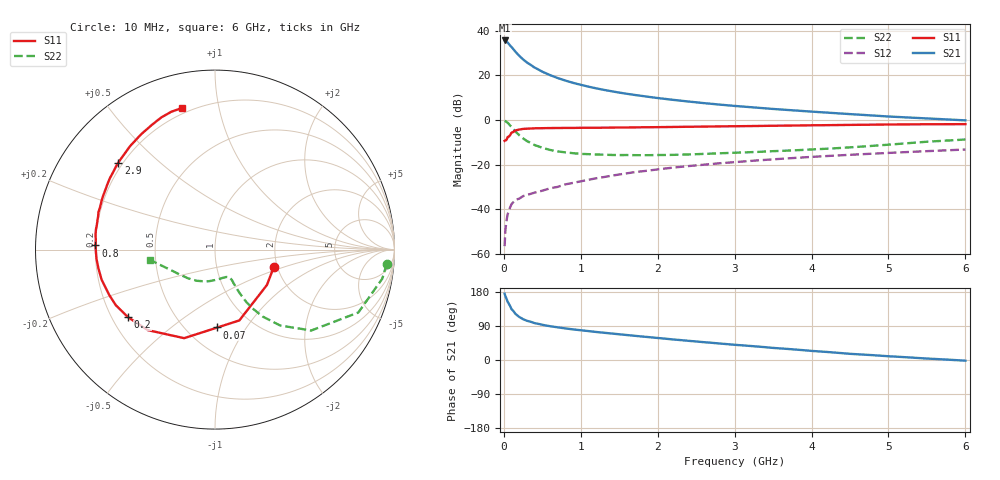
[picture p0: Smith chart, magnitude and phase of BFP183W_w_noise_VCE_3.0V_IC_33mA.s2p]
! Infineon Technologies  Discrete & RF Semiconductors
! BFP183W
! VCE =  3.0 V,  IC =  33 mA
! Common Emitter S-Parameters:  Jan 2017
# GHz  S  MA  R  50
!  f  S11  S21  S12  S22
! GHz  MAG  ANG  MAG  ANG  MAG  ANG  MAG  ANG
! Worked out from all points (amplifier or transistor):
!   77 points, 10 MHz to 6 GHz, reference 50 ohm
!   highest |S21| = 35.6 dB at 10 MHz (marker M1)
!   |S21| within 3 dB of that: start of sweep to 101.8 MHz
!   unconditionally stable (mu >= 1): 821.3 MHz to 3.455 GHz
!   at 130 MHz: K = 0.34, MSG = 34.0 dB, |S12| = -36.5 dB
!   at 2.2 GHz: K = 1.07, MAG = 13.6 dB, |S12| = -21.3 dB
!   at 6 GHz: K = 0.87, MSG = 6.5 dB, |S12| = -13.2 dB
!   lowest NFmin = 1.47 dB at 450 MHz
!   S11 on the Smith chart (normalised r, x): 10 MHz: 1.92, -0.41; 70 MHz: 0.70, -0.75; 200 MHz: 0.27, -0.32; 800 MHz: 0.20, +0.02; 2.9 GHz: 0.18, +0.37; 6 GHz: 0.17, +0.78
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0.01  0.342 -16.1  60.57 175.0  0.0015 87.6  0.9605 -4.7
0.02  0.3501 -34.3  59.78 168.7  0.0034 84.4  0.9458 -9.9
0.05  0.4172 -71.0  54.41 153.4  0.0078 70.0  0.8721 -23.7
0.07  0.4342 -88.3  49.3 146.7  0.0099 64.6  0.7959 -29.4
0.1  0.5225 -109.2  43.23 134.1  0.0131 59.8  0.7002 -40.1
0.15  0.5842 -129.8  34.07 122.0  0.0163 50.4  0.5562 -49.4
0.2  0.6134 -142.0  27.48 113.6  0.0174 48.9  0.4583 -54.5
0.25  0.6335 -150.7  22.85 107.8  0.0198 46.5  0.3889 -57.4
0.3  0.6412 -156.7  19.45 103.5  0.021 48.3  0.3391 -59.2
0.4  0.6537 -165.2  14.97 97.3  0.0237 51.4  0.2758 -60.5
0.5  0.6578 -170.8  12.09 92.9  0.0262 53.2  0.2391 -60.9
0.6  0.662 -175.3  10.16 89.2  0.0296 55.3  0.2145 -61.1
0.7  0.6634 -178.7  8.725 86.2  0.0319 58.1  0.1985 -60.9
0.8  0.6663 178.0  7.662 83.3  0.0363 60.1  0.189 -61.2
1.1  0.6728 170.3  5.599 76.3  0.046 61.9  0.1723 -63.2
1.5  0.6822 162.1  4.119 67.9  0.0604 63.2  0.1644 -68.8
2.1  0.6968 150.8  2.971 56.2  0.0823 62.3  0.1654 -82.5
2.9  0.7241 138.1  2.146 41.9  0.1109 58.4  0.1826 -104.6
3.1  0.7301 135.1  2.009 38.7  0.1177 57.1  0.1878 -110.0
4.1  0.7657 121.4  1.506 22.6  0.153 51.0  0.2236 -136.1
5.1  0.7969 111.1  1.177 8.8  0.1871 44.5  0.2897 -159.4
6  0.8102 103.2  0.984 -1.8  0.2188 38.1  0.3668 -171.3
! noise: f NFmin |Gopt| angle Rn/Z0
0.45  1.47  0.28  -179  0.1
0.9  1.51  0.31  -177  0.1
1.9  2  0.46  -156  0.11
2.4  2.24  0.51  -151  0.16
